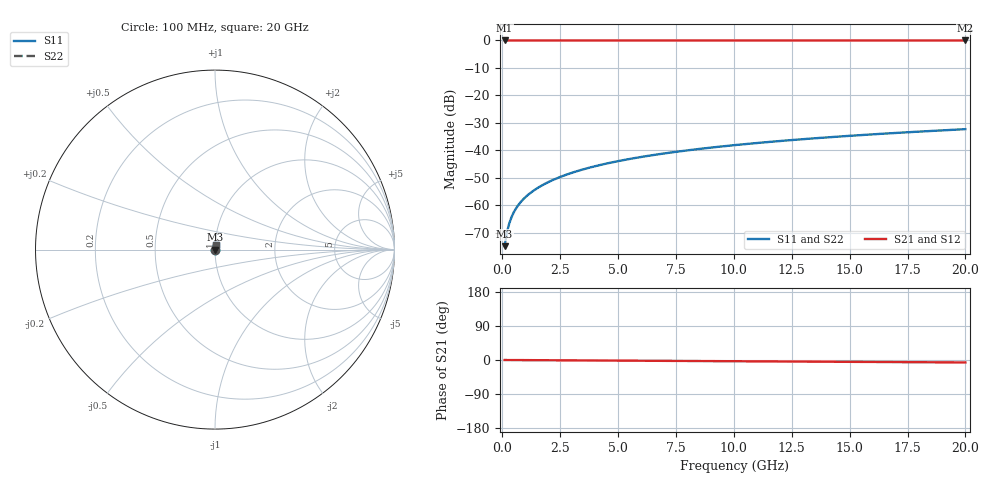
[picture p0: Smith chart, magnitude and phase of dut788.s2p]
! Touchstone file exported from HFSS 2026.1.0
!  File:  C:/ffzhzh/LocalFiles/Ansys_Project_Files/temp_train_TSV_788_1783183806_22436.aedt
!  Generated:  12:51:31 AM Jul  5, 2026
!  Design:  TSV
!  Project:  temp_train_TSV_788_1783183806_22436
! Variables:
!  h_bsmrdl = 2um
!  h_ox = 20um
!  h_rdl = 5um
!  h_sub = 57.45um
!  h_tmrdl = 5um
!  h_tsv = 57.45um
!  h_via = 3um
!  l_bsmrdl = 300um
!  l_sub = 420.76um
!  l_tmrdl = 200um
!  m_sub = 200um
!  pitch = 52.79um
!  r_tsv = 10.38um
!  s_tmrdl = 10um
!  w_bsmrdl = 18um
!  w_sub = 500um
!  w_tmrdl = 12um
!  x_tsv_center1 = 206um
!  x_tsv_center2 = 524um
!  x_tsv_center3 = 736um
!  x_tsv_center4 = 1054um
!  x_tsv_center5 = 1266um
!  x_tsv_center6 = 1584um
# GHz S MA R 50.000000
! Terminal data exported
! Port[1] = TSV1_1_T1
! Port[2] = TSV1_1_T2
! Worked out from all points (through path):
!   200 points, 100 MHz to 20 GHz, reference 50 ohm
!   highest |S21| = 0.00 dB at 100 MHz (marker M1); lowest = 0.0 dB at 20 GHz (marker M2)
!   lowest |S11| = -75.0 dB at 100 MHz (marker M3), VSWR 1.00, Z = 50 + j0.0152 ohm
!   |S11| at or under -10 dB: start of sweep to end of sweep
!   |S22| runs from -75.0 to -32.3 dB; largest |S21 - S12| = 2e-15
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0.1  0.0001786 58.5  0.9999 -0.0  0.9999 -0.0  0.0001786 58.5
! Gamma 0 0 0 0
! Port Impedance 50 0 50 0
0.2  0.0003193 71.3  0.9999 -0.1  0.9999 -0.1  0.0003193 71.3
0.3  0.0004639 75.6  0.9999 -0.1  0.9999 -0.1  0.0004639 75.6
0.4  0.0006064 77.5  0.9999 -0.1  0.9999 -0.1  0.0006064 77.5
0.5  0.0007454 78.4  0.9999 -0.2  0.9999 -0.2  0.0007454 78.4
0.6  0.0008809 79.1  0.9998 -0.2  0.9998 -0.2  0.0008809 79.1
0.7  0.001013 79.5  0.9998 -0.2  0.9998 -0.2  0.001013 79.5
0.8  0.001143 79.9  0.9998 -0.3  0.9998 -0.3  0.001143 79.9
1  0.001398 80.5  0.9998 -0.3  0.9998 -0.3  0.001398 80.5
1.4  0.001897 81.6  0.9997 -0.5  0.9997 -0.5  0.001897 81.6
1.7  0.002269 82.2  0.9997 -0.6  0.9997 -0.6  0.002269 82.2
2  0.00264 82.7  0.9997 -0.7  0.9997 -0.7  0.00264 82.7
2.7  0.003505 83.5  0.9996 -0.9  0.9996 -0.9  0.003505 83.5
3.5  0.004491 83.9  0.9996 -1.1  0.9996 -1.1  0.004491 83.9
4.2  0.00535 84.1  0.9996 -1.4  0.9996 -1.4  0.00535 84.1
5  0.006327 84.2  0.9995 -1.6  0.9995 -1.6  0.006327 84.2
6.8  0.008507 84.1  0.9994 -2.2  0.9994 -2.2  0.008507 84.1
8.3  0.01031 83.9  0.9993 -2.7  0.9993 -2.7  0.01031 83.9
10.1  0.01247 83.7  0.9993 -3.3  0.9993 -3.3  0.01247 83.7
13.4  0.0164 83.0  0.9991 -4.3  0.9991 -4.3  0.0164 83.0
16.7  0.02031 82.2  0.9989 -5.4  0.9989 -5.4  0.02031 82.2
20  0.02419 81.3  0.9988 -6.5  0.9988 -6.5  0.02419 81.3
